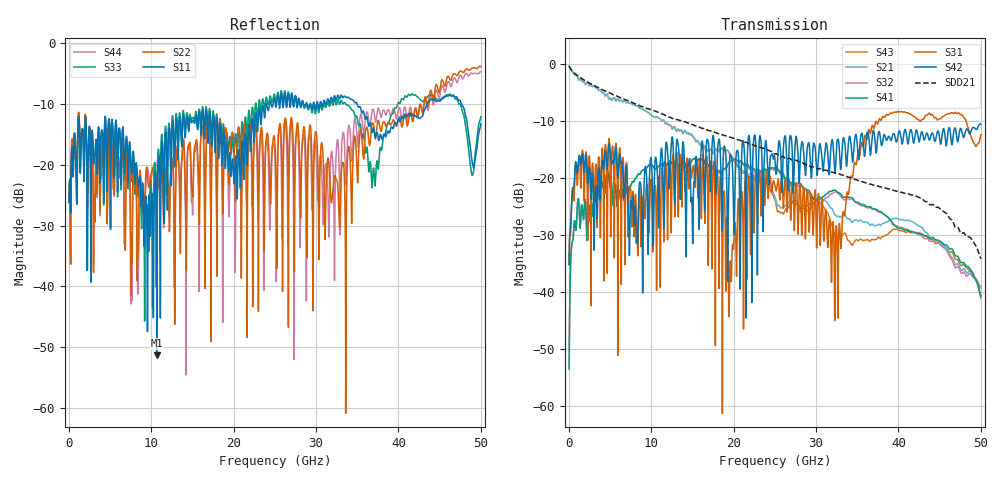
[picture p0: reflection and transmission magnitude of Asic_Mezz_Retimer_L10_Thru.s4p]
! Created Fri Jun 28 09:24:52 2019
# hz S ma R 50
! 4 Port Network Data from SP1.SP block
! freq  magS11  angS11  magS12  angS12  magS13  angS13  magS14  angS14
!  magS21  angS21  magS22  angS22  magS23  angS23  magS24  angS24
!  magS31  angS31  magS32  angS32  magS33  angS33  magS34  angS34
!  magS41  angS41  magS42  angS42  magS43  angS43  magS44  angS44
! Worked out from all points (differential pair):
!   4996 points, 50 MHz to 50 GHz, reference 50 ohm
!   strongest paths, dB at 50 MHz, 12.54 GHz, 25.03 GHz, 37.52 GHz, 50 GHz:
!     S42: -35.1, -12.8, -17.0, -12.5, -10.5
!     S31: -35.2, -18.9, -21.4, -10.3, -12.4
!     S41: -53.5, -17.3, -18.2, -25.7, -40.7
!     S32: -53.5, -17.4, -18.5, -25.9, -39.1
!     S21: -0.3, -11.2, -23.3, -28.1, -39.3
!     S43: -0.3, -11.3, -23.9, -30.4, -41.1
!   taken as a pair (ports 1,3 in; 2,4 out), SDD21 dB: -0.3, -9.5, -15.7, -21.4, -34.1
!   lowest |S11| = -51.3 dB at 10.69 GHz (marker M1), VSWR 1.01, Z = 49.7 + j0.0714 ohm
!   |S11| at or under -10 dB: start of sweep to 23.93 GHz; 34.99 GHz to 43.44 GHz (8.454 GHz wide, 21.6 % of centre); 47.64 GHz to end of sweep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
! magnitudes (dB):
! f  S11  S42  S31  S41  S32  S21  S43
! 50 MHz  -26.1  -35.1  -35.2  -53.5  -53.5  -0.3  -0.3
! 1.09 GHz  -15.9  -18.8  -20.3  -24.1  -24.1  -2.3  -2.3
! 10.69 GHz  -51.3  -17.7  -30.5  -18.1  -18.2  -9.2  -9.2
! 24.58 GHz  -10.2  -16.1  -22.0  -18.2  -18.4  -21.8  -22.4
! 32.46 GHz  -9.3  -15.2  -28.4  -22.2  -22.4  -26.7  -31.0
! 37.46 GHz  -14.8  -13.2  -10.5  -25.7  -25.8  -28.2  -30.5
! 50 GHz  -13.2  -10.5  -12.4  -40.7  -39.1  -39.3  -41.1
